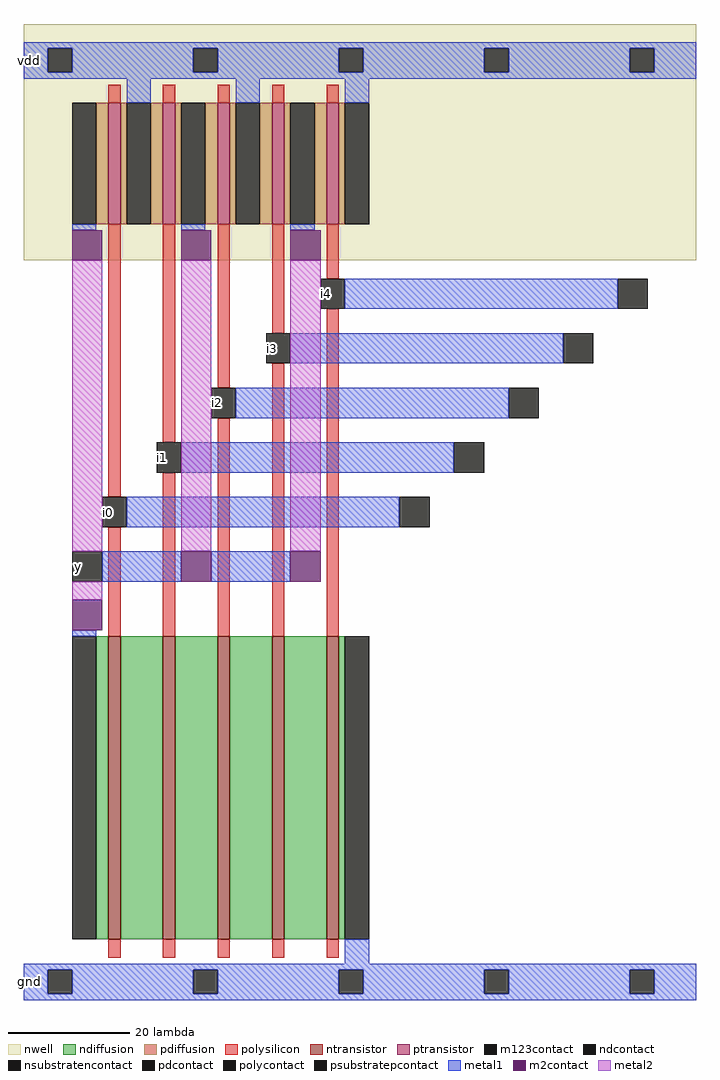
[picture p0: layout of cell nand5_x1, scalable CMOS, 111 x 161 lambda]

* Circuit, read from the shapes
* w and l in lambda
.subckt nand5_x1 i0 i1 i2 i3 i4 y vdd gnd
M1 n1 i0 y gnd nfet w=50 l=2
M2 n2 i1 n1 gnd nfet w=50 l=2
M3 n3 i2 n2 gnd nfet w=50 l=2
M4 n4 i3 n3 gnd nfet w=50 l=2
M5 gnd i4 n4 gnd nfet w=50 l=2
M6 vdd i0 y vdd pfet w=20 l=2
M7 y i1 vdd vdd pfet w=20 l=2
M8 vdd i2 y vdd pfet w=20 l=2
M9 y i3 vdd vdd pfet w=20 l=2
M10 vdd i4 y vdd pfet w=20 l=2
.ends

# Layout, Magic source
magic
tech scmos
<< nwell >>
rect 0 122 111 161
<< ntransistor >>
rect 14 10 16 60
rect 23 10 25 60
rect 32 10 34 60
rect 41 10 43 60
rect 50 10 52 60
<< ptransistor >>
rect 14 128 16 148
rect 23 128 25 148
rect 32 128 34 148
rect 41 128 43 148
rect 50 128 52 148
<< ndiffusion >>
rect 12 10 14 60
rect 16 10 23 60
rect 25 10 32 60
rect 34 10 41 60
rect 43 10 50 60
rect 52 10 53 60
<< pdiffusion >>
rect 12 128 14 148
rect 16 128 17 148
rect 21 128 23 148
rect 25 128 26 148
rect 30 128 32 148
rect 34 128 35 148
rect 39 128 41 148
rect 43 128 44 148
rect 48 128 50 148
rect 52 128 53 148
<< ndcontact >>
rect 8 10 12 60
rect 53 10 57 60
<< pdcontact >>
rect 8 128 12 148
rect 17 128 21 148
rect 26 128 30 148
rect 35 128 39 148
rect 44 128 48 148
rect 53 128 57 148
<< psubstratepcontact >>
rect 4 1 8 5
rect 28 1 32 5
rect 52 1 56 5
rect 76 1 80 5
rect 100 1 104 5
<< nsubstratencontact >>
rect 4 153 8 157
rect 28 153 32 157
rect 52 153 56 157
rect 76 153 80 157
rect 100 153 104 157
<< polysilicon >>
rect 14 148 16 151
rect 23 148 25 151
rect 32 148 34 151
rect 41 148 43 151
rect 50 148 52 151
rect 14 83 16 128
rect 23 92 25 128
rect 32 101 34 128
rect 41 110 43 128
rect 50 119 52 128
rect 14 60 16 78
rect 23 60 25 87
rect 32 60 34 96
rect 41 60 43 105
rect 50 60 52 114
rect 14 7 16 10
rect 23 7 25 10
rect 32 7 34 10
rect 41 7 43 10
rect 50 7 52 10
<< polycontact >>
rect 49 114 53 119
rect 40 105 44 110
rect 31 96 35 101
rect 22 87 26 92
rect 13 78 17 83
<< metal1 >>
rect 0 157 111 158
rect 0 153 4 157
rect 8 153 28 157
rect 32 153 52 157
rect 56 153 76 157
rect 80 153 100 157
rect 104 153 111 157
rect 0 152 111 153
rect 17 148 21 152
rect 35 148 39 152
rect 53 148 57 152
rect 8 127 12 128
rect 26 127 30 128
rect 44 127 48 128
rect 53 114 98 119
rect 44 105 89 110
rect 35 96 80 101
rect 26 87 71 92
rect 17 78 62 83
rect 13 69 26 74
rect 31 69 44 74
rect 8 60 12 61
rect 53 6 57 10
rect 0 5 111 6
rect 0 1 4 5
rect 8 1 28 5
rect 32 1 52 5
rect 56 1 76 5
rect 80 1 100 5
rect 104 1 111 5
rect 0 0 111 1
<< m2contact >>
rect 8 122 13 127
rect 26 122 31 127
rect 44 122 49 127
rect 26 69 31 74
rect 44 69 49 74
rect 8 61 13 66
<< metal2 >>
rect 8 74 13 122
rect 26 74 31 122
rect 44 74 49 122
rect 8 66 13 69
<< m123contact >>
rect 8 69 13 74
rect 98 114 103 119
rect 89 105 94 110
rect 80 96 85 101
rect 71 87 76 92
rect 62 78 67 83
<< labels >>
rlabel metal1 13 78 15 83 0 i0
port 1 nsew
rlabel metal1 22 87 24 92 0 i1
port 2 nsew
rlabel metal1 31 96 33 101 0 i2
port 3 nsew
rlabel metal1 40 105 42 110 0 i3
port 4 nsew
rlabel metal1 49 114 51 119 0 i4
port 5 nsew
rlabel metal1 8 69 10 74 0 y
port 6 nsew
rlabel metal1 0 152 2 158 0 vdd
port 7 nsew
rlabel metal1 0 0 2 6 0 gnd
port 8 nsew
<< end >>
